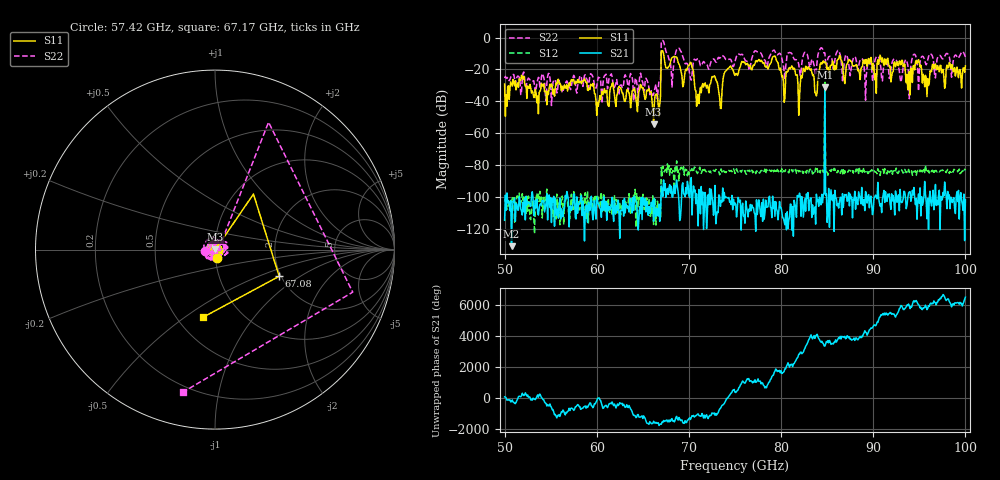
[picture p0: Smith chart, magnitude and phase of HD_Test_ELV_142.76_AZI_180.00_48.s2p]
! 11/25/2026 9:27:40 AM
! C:\ANRITSUVNA\TEMP\TEMP.S2P
! CHANNEL.1
! TR.MEASUREMENT
! RAW.DATA
# HZ S RI R 50.0
! FREQ.HZ  S11RE  S11IM  S21RE  S21IM  S12RE  S12IM  S22RE  S22IM
!; PortSelection: Port_12
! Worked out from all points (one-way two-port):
!   601 points, 50 GHz to 100 GHz, reference 50 ohm
!   highest |S21| = -30.95 dB at 84.75 GHz (marker M1); lowest = -131.0 dB at 50.75 GHz (marker M2)
!   lowest |S11| = -54.4 dB at 66.17 GHz (marker M3), VSWR 1.00, Z = 50.1 + j0.148 ohm
!   |S11| at or under -10 dB: start of sweep to 67 GHz; 67.24 GHz to end of sweep
!   |S22| runs from -42.6 to -1.8 dB; largest |S21 - S12| = 0.068
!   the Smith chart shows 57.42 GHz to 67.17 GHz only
!   S11 on the Smith chart (normalised r, x): 57.42 GHz: 1.02, -0.10; 67.08 GHz: 1.96, -0.68; 67.17 GHz: 0.67, -0.59
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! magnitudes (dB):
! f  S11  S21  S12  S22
! 50 GHz  -29.2  -114.7  -103.1  -25.4
! 50.75 GHz  -29.2  -131.0  -104.5  -24.1
! 57.42 GHz  -26.3  -104.0  -108.0  -25.2
! 58.42 GHz  -27.2  -111.8  -100.7  -29.0
! 60.17 GHz  -43.1  -104.5  -100.8  -24.8
! 61.67 GHz  -28.7  -100.3  -111.8  -24.5
! 66.17 GHz  -54.4  -115.4  -117.3  -35.4
! 66.67 GHz  -42.0  -112.0  -107.6  -32.2
! 67.08 GHz  -8.2  -96.0  -86.7  -1.9
! 67.17 GHz  -8.4  -99.7  -80.7  -1.8
! 70.17 GHz  -15.4  -90.4  -83.6  -25.7
! 70.92 GHz  -40.7  -104.4  -85.4  -13.3
! 75 GHz  -23.7  -103.8  -85.3  -15.0
! 79.25 GHz  -11.8  -103.0  -83.1  -7.9
! 80.25 GHz  -27.6  -113.4  -83.6  -17.6
! 83.42 GHz  -23.8  -105.0  -85.6  -13.6
! 84.75 GHz  -15.4  -31.0  -28.0  -9.5
! 91.67 GHz  -16.7  -99.7  -84.0  -20.4
! 93.75 GHz  -32.8  -100.5  -84.9  -17.2
! 94.83 GHz  -15.0  -103.1  -83.4  -20.3
! 95.83 GHz  -37.0  -113.8  -84.8  -15.9
! 100 GHz  -17.7  -101.8  -83.4  -12.1
